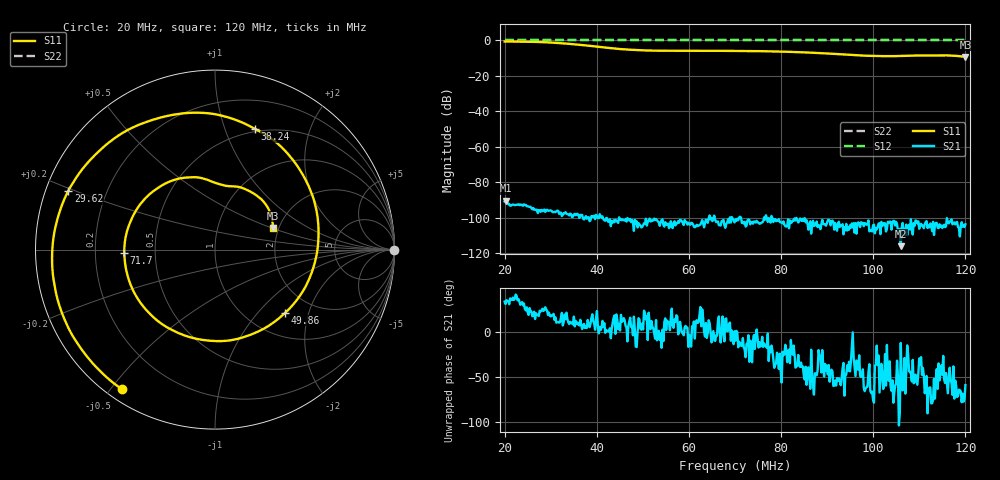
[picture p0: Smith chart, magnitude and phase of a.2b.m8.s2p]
! Anritsu VNA Master:  Model: MS2036C/10/77
! SN:  1601066
! /bd0/18may09/252.ns.m8.s2p
! Existing Calibration Information:
! TYPE:  Current Settings,  Active Cal Settings
! TIME:  05/09/2018 09:09:21 AM,  05/09/2018 09:02:47 AM
! INTERNAL TEMP:  41.3 C,  40.3 C
! # POINTS:  500,  500
! START FREQ:  20.000 MHz,  20.000 MHz
! STOP FREQ:  120.000 MHz,  120.000 MHz
! SOURCE POWER:  High,  High
! IFBW:  50 Hz,  50 Hz
! AVG FACTOR:  1 ,  1
! REF PLANE 1:  0 mm,  0 mm
! REF PLANE 2:  0 mm,  0 mm
! CAL TYPE:  Full S11,  Full S11
! CAL METHOD:  SOLT,  SOLT
! CAL LINE TYPE:  Coax,  Coax
! DUT PORT 1:  K-Conn(F),  K-Conn(F)
! DUT PORT 2:  K-Conn(F),  K-Conn(F)
! CAL STATUS:  OK: Accuracy High,  --
# GHZ S DB R 50.0
! FREQ.GHZ  S11DB  S11A  S21DB  S21A  S12DB  S12A  S22DB  S22A
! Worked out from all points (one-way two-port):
!   500 points, 20 MHz to 120 MHz, reference 50 ohm
!   highest |S21| = -90.45 dB at 20.2 MHz (marker M1); lowest = -116.1 dB at 106 MHz (marker M2)
!   lowest |S11| = -9.3 dB at 120 MHz (marker M3), VSWR 2.05, Z = 93 + j25.3 ohm
!   |S11| at or under -10 dB: nowhere
!   |S22| runs from 0.0 to 0.0 dB; largest |S21 - S12| = 1
!   S11 on the Smith chart (normalised r, x): 20 MHz: 0.04, -0.53; 29.62 MHz: 0.07, +0.19; 38.24 MHz: 0.47, +1.27; 49.86 MHz: 1.47, -1.42; 71.7 MHz: 0.33, -0.02; 120 MHz: 1.86, +0.51
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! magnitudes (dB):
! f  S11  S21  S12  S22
! 20 MHz  -0.6  -90.9  0.0  0.0
! 20.2 MHz  -0.6  -90.5  0.0  0.0
! 25.01 MHz  -0.7  -93.5  0.0  0.0
! 29.62 MHz  -1.1  -96.1  0.0  0.0
! 32.83 MHz  -1.6  -97.4  0.0  0.0
! 36.83 MHz  -2.5  -98.5  0.0  0.0
! 38.24 MHz  -3.0  -99.7  0.0  0.0
! 44.85 MHz  -4.8  -99.8  0.0  0.0
! 49.86 MHz  -5.6  -105.2  0.0  0.0
! 53.47 MHz  -5.8  -102.7  0.0  0.0
! 57.27 MHz  -5.9  -103.1  0.0  0.0
! 70.1 MHz  -5.9  -100.9  0.0  0.0
! 71.7 MHz  -5.9  -102.3  0.0  0.0
! 79.92 MHz  -6.3  -102.6  0.0  0.0
! 86.73 MHz  -6.9  -104.1  0.0  0.0
! 97.96 MHz  -8.6  -104.8  0.0  0.0
! 103.4 MHz  -8.9  -102.9  0.0  0.0
! 106 MHz  -8.7  -116.1  0.0  0.0
! 109 MHz  -8.5  -104.6  0.0  0.0
! 115 MHz  -8.4  -105.8  0.0  0.0
! 117.6 MHz  -8.6  -102.7  0.0  0.0
! 120 MHz  -9.3  -103.7  0.0  0.0
